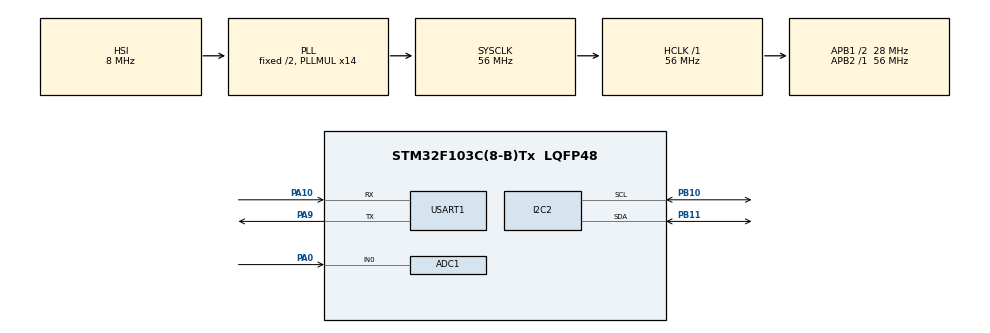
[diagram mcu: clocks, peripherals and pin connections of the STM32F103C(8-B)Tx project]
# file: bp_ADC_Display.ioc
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ADC1.Channel-0\#ChannelRegularConversion=ADC_CHANNEL_0
ADC1.NbrOfConversionFlag=1
ADC1.Rank-0\#ChannelRegularConversion=1
ADC1.SamplingTime-0\#ChannelRegularConversion=ADC_SAMPLETIME_1CYCLE_5
ADC1.master=1
I2C2.I2C_Mode=I2C_Fast
Mcu.Family=STM32F1
Mcu.Name=STM32F103C(8-B)Tx
Mcu.Package=LQFP48
NVIC.PriorityGroup=NVIC_PRIORITYGROUP_4
PA0-WKUP.Signal=ADCx_IN0
PA10.Mode=Asynchronous
PA10.Signal=USART1_RX
PA13.Mode=Serial_Wire
PA13.Signal=SYS_JTMS-SWDIO
PA14.Mode=Serial_Wire
PA14.Signal=SYS_JTCK-SWCLK
PA9.Mode=Asynchronous
PA9.Signal=USART1_TX
PB10.Mode=I2C
PB10.Signal=I2C2_SCL
PB11.Mode=I2C
PB11.Signal=I2C2_SDA
ProjectManager.HeapSize=0x200
ProjectManager.StackSize=0x400
ProjectManager.TargetToolchain=TrueSTUDIO
RCC.ADCPresc=RCC_ADCPCLK2_DIV4
RCC.AHBFreq_Value=56000000
RCC.APB1CLKDivider=RCC_HCLK_DIV2
RCC.APB1Freq_Value=28000000
RCC.APB1TimFreq_Value=56000000
RCC.APB2Freq_Value=56000000
RCC.APB2TimFreq_Value=56000000
RCC.HCLKFreq_Value=56000000
RCC.PLLMUL=RCC_PLL_MUL14
RCC.SYSCLKFreq_VALUE=56000000
RCC.SYSCLKSource=RCC_SYSCLKSOURCE_PLLCLK
RCC.USBFreq_Value=56000000
SH.ADCx_IN0.0=ADC1_IN0,IN0
USART1.VirtualMode=VM_ASYNC
board=custom

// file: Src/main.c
/* USER CODE BEGIN Header */
/**
  ******************************************************************************
  * @file           : main.c
  * @brief          : Main program body
  ******************************************************************************
  ** This notice applies to any and all portions of this file
  * that are not between comment pairs USER CODE BEGIN and
  * USER CODE END. Other portions of this file, whether
  * inserted by the user or by software development tools
  * are owned by their respective copyright owners.
  *
  * COPYRIGHT(c) 2019 STMicroelectronics
  *
  * Redistribution and use in source and binary forms, with or without modification,
  * are permitted provided that the following conditions are met:
  *   1. Redistributions of source code must retain the above copyright notice,
  *      this list of conditions and the following disclaimer.
  *   2. Redistributions in binary form must reproduce the above copyright notice,
  *      this list of conditions and the following disclaimer in the documentation
  *      and/or other materials provided with the distribution.
  *   3. Neither the name of STMicroelectronics nor the names of its contributors
  *      may be used to endorse or promote products derived from this software
  *      without specific prior written permission.
  *
  * THIS SOFTWARE IS PROVIDED BY THE COPYRIGHT HOLDERS AND CONTRIBUTORS "AS IS"
  * AND ANY EXPRESS OR IMPLIED WARRANTIES, INCLUDING, BUT NOT LIMITED TO, THE
  * IMPLIED WARRANTIES OF MERCHANTABILITY AND FITNESS FOR A PARTICULAR PURPOSE ARE
  * DISCLAIMED. IN NO EVENT SHALL THE COPYRIGHT HOLDER OR CONTRIBUTORS BE LIABLE
  * FOR ANY DIRECT, INDIRECT, INCIDENTAL, SPECIAL, EXEMPLARY, OR CONSEQUENTIAL
  * DAMAGES (INCLUDING, BUT NOT LIMITED TO, PROCUREMENT OF SUBSTITUTE GOODS OR
  * SERVICES; LOSS OF USE, DATA, OR PROFITS; OR BUSINESS INTERRUPTION) HOWEVER
  * CAUSED AND ON ANY THEORY OF LIABILITY, WHETHER IN CONTRACT, STRICT LIABILITY,
  * OR TORT (INCLUDING NEGLIGENCE OR OTHERWISE) ARISING IN ANY WAY OUT OF THE USE
  * OF THIS SOFTWARE, EVEN IF ADVISED OF THE POSSIBILITY OF SUCH DAMAGE.
  *
  ******************************************************************************
  */
/* USER CODE END Header */

#include "main.h"

/* USER CODE BEGIN Includes */
#include "ssd1306.h"
#include "print_UART.h"
/* USER CODE END Includes */

ADC_HandleTypeDef hadc1;

I2C_HandleTypeDef hi2c2;

UART_HandleTypeDef huart1;

/* USER CODE BEGIN PV */
static uint16_t data_adc;
static double voltage;
/* USER CODE END PV */

void SystemClock_Config(void);
static void MX_GPIO_Init(void);
static void MX_I2C2_Init(void);
static void MX_ADC1_Init(void);
static void MX_USART1_UART_Init(void);

int main(void)
{

  /* MCU Configuration--------------------------------------------------------*/

  /* Reset of all peripherals, Initializes the Flash interface and the Systick. */
  HAL_Init();

  /* Configure the system clock */
  SystemClock_Config();

  /* Initialize all configured peripherals */
  MX_GPIO_Init();
  MX_I2C2_Init();
  MX_ADC1_Init();
  MX_USART1_UART_Init();
  /* USER CODE BEGIN 2 */
  set_oled_addr(0x78);
  ssd1306_sel_I2C(&hi2c2);
  SSD1306_Init ();

  HAL_ADCEx_Calibration_Start(&hadc1);

  /* USER CODE END 2 */

  /* Infinite loop */
  /* USER CODE BEGIN WHILE */
  while (1)
  {
	  HAL_ADC_Start(&hadc1);
	  HAL_ADC_PollForConversion(&hadc1, 1000);
	  data_adc = HAL_ADC_GetValue(&hadc1);
	  HAL_ADC_Stop(&hadc1);
	  voltage = data_adc;
	  voltage = voltage*3.3/4095;
	  SSD1306_Putdouble(voltage, 3, 2);
	  SSD1306_Putint(data_adc, 1);
	  SSD1306_UpdateScreen();

	 // tx_UART_int(&huart1, data_adc, 10);
	  HAL_Delay(100);
    /* USER CODE END WHILE */

  }
}

void SystemClock_Config(void)
{
  RCC_OscInitTypeDef RCC_OscInitStruct = {0};
  RCC_ClkInitTypeDef RCC_ClkInitStruct = {0};
  RCC_PeriphCLKInitTypeDef PeriphClkInit = {0};

  /**Initializes the CPU, AHB and APB busses clocks
  */
  RCC_OscInitStruct.OscillatorType = RCC_OSCILLATORTYPE_HSI;
  RCC_OscInitStruct.HSIState = RCC_HSI_ON;
  RCC_OscInitStruct.HSICalibrationValue = RCC_HSICALIBRATION_DEFAULT;
  RCC_OscInitStruct.PLL.PLLState = RCC_PLL_ON;
  RCC_OscInitStruct.PLL.PLLSource = RCC_PLLSOURCE_HSI_DIV2;
  RCC_OscInitStruct.PLL.PLLMUL = RCC_PLL_MUL14;
  if (HAL_RCC_OscConfig(&RCC_OscInitStruct) != HAL_OK)
  {
    Error_Handler();
  }
  /**Initializes the CPU, AHB and APB busses clocks
  */
  RCC_ClkInitStruct.ClockType = RCC_CLOCKTYPE_HCLK|RCC_CLOCKTYPE_SYSCLK
                              |RCC_CLOCKTYPE_PCLK1|RCC_CLOCKTYPE_PCLK2;
  RCC_ClkInitStruct.SYSCLKSource = RCC_SYSCLKSOURCE_PLLCLK;
  RCC_ClkInitStruct.AHBCLKDivider = RCC_SYSCLK_DIV1;
  RCC_ClkInitStruct.APB1CLKDivider = RCC_HCLK_DIV2;
  RCC_ClkInitStruct.APB2CLKDivider = RCC_HCLK_DIV1;

  if (HAL_RCC_ClockConfig(&RCC_ClkInitStruct, FLASH_LATENCY_2) != HAL_OK)
  {
    Error_Handler();
  }
  PeriphClkInit.PeriphClockSelection = RCC_PERIPHCLK_ADC;
  PeriphClkInit.AdcClockSelection = RCC_ADCPCLK2_DIV4;
  if (HAL_RCCEx_PeriphCLKConfig(&PeriphClkInit) != HAL_OK)
  {
    Error_Handler();
  }
}

static void MX_ADC1_Init(void)
{

  ADC_ChannelConfTypeDef sConfig = {0};

  /**Common config
  */
  hadc1.Instance = ADC1;
  hadc1.Init.ScanConvMode = ADC_SCAN_DISABLE;
  hadc1.Init.ContinuousConvMode = DISABLE;
  hadc1.Init.DiscontinuousConvMode = DISABLE;
  hadc1.Init.ExternalTrigConv = ADC_SOFTWARE_START;
  hadc1.Init.DataAlign = ADC_DATAALIGN_RIGHT;
  hadc1.Init.NbrOfConversion = 1;
  if (HAL_ADC_Init(&hadc1) != HAL_OK)
  {
    Error_Handler();
  }
  /**Configure Regular Channel
  */
  sConfig.Channel = ADC_CHANNEL_0;
  sConfig.Rank = ADC_REGULAR_RANK_1;
  sConfig.SamplingTime = ADC_SAMPLETIME_1CYCLE_5;
  if (HAL_ADC_ConfigChannel(&hadc1, &sConfig) != HAL_OK)
  {
    Error_Handler();
  }

}

static void MX_I2C2_Init(void)
{

  hi2c2.Instance = I2C2;
  hi2c2.Init.ClockSpeed = 400000;
  hi2c2.Init.DutyCycle = I2C_DUTYCYCLE_2;
  hi2c2.Init.OwnAddress1 = 0;
  hi2c2.Init.AddressingMode = I2C_ADDRESSINGMODE_7BIT;
  hi2c2.Init.DualAddressMode = I2C_DUALADDRESS_DISABLE;
  hi2c2.Init.OwnAddress2 = 0;
  hi2c2.Init.GeneralCallMode = I2C_GENERALCALL_DISABLE;
  hi2c2.Init.NoStretchMode = I2C_NOSTRETCH_DISABLE;
  if (HAL_I2C_Init(&hi2c2) != HAL_OK)
  {
    Error_Handler();
  }

}

static void MX_USART1_UART_Init(void)
{

  huart1.Instance = USART1;
  huart1.Init.BaudRate = 115200;
  huart1.Init.WordLength = UART_WORDLENGTH_8B;
  huart1.Init.StopBits = UART_STOPBITS_1;
  huart1.Init.Parity = UART_PARITY_NONE;
  huart1.Init.Mode = UART_MODE_TX_RX;
  huart1.Init.HwFlowCtl = UART_HWCONTROL_NONE;
  huart1.Init.OverSampling = UART_OVERSAMPLING_16;
  if (HAL_UART_Init(&huart1) != HAL_OK)
  {
    Error_Handler();
  }

}

static void MX_GPIO_Init(void)
{

  /* GPIO Ports Clock Enable */
  __HAL_RCC_GPIOA_CLK_ENABLE();
  __HAL_RCC_GPIOB_CLK_ENABLE();

}

void Error_Handler(void)
{
}

/************************ (C) COPYRIGHT STMicroelectronics *****END OF FILE****/
